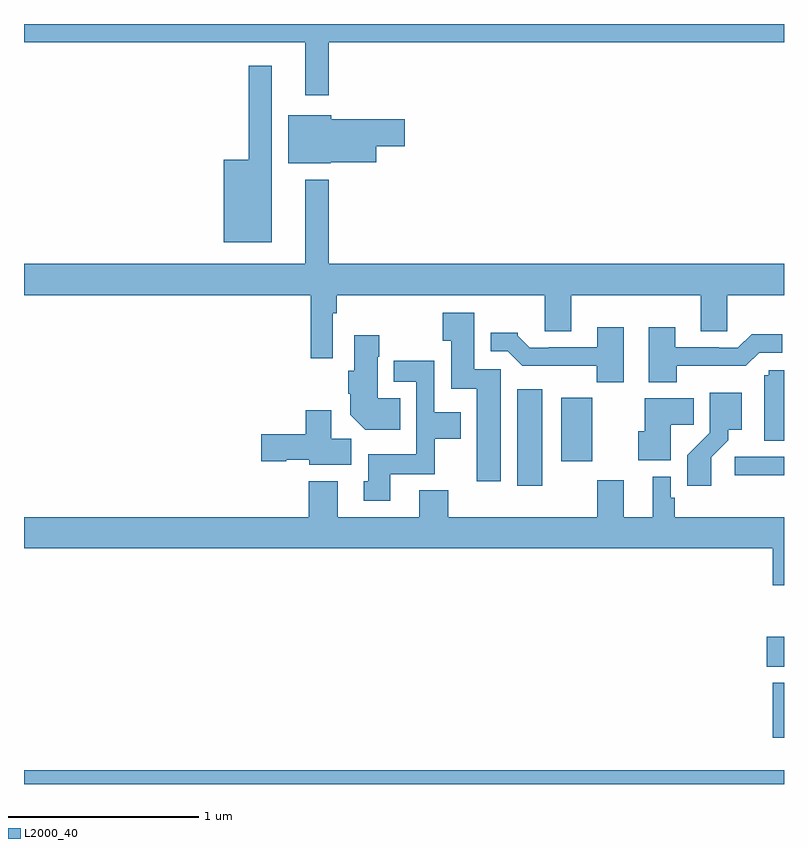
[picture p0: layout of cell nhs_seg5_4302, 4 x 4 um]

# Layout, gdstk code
import gdstk
lib = gdstk.Library(unit=1e-6, precision=1e-09)
def R(c, l, rs):  # rectangles x0, y0, x1, y1
    for r in rs: c.add(gdstk.rectangle(r[:2], r[2:], *l))
def P(c, l, *ps):  # polygons
    for p in ps: c.add(gdstk.Polygon(p, *l))
L2000_40 = (2000, 40)

nhs_seg5_4302 = lib.new_cell('nhs_seg5_4302')
R(nhs_seg5_4302, L2000_40, [(363,908.799,367,908.872), (366.941,909.042,367,909.331), (366.909,909.416,367,909.574), (365.597,910.368,365.728,910.876)])
P(nhs_seg5_4302, L2000_40, [(364.603,912.704),(367,912.704),(367,912.799),(363,912.799),(363,912.704),(364.481,912.704),(364.481,912.423),(364.603,912.423)],
  [(364.303,912.58),(364.182,912.58),(364.182,912.085),(364.052,912.085),(364.052,911.651),(364.303,911.651)],
  [(364.614,912.071),(364.855,912.071),(364.855,912.155),(365.005,912.155),(365.005,912.297),(364.618,912.297),(364.618,912.319),(364.391,912.319),(364.391,912.065),(364.614,912.065)],
  [(364.481,911.98),(364.481,911.536),(363,911.536),(363,911.372),(364.51,911.372),(364.51,911.04),(364.626,911.04),(364.626,911.276),(364.646,911.276),(364.646,911.372),(365.741,911.372),(365.741,911.182),(365.881,911.182),(365.881,911.372),(366.563,911.372),(366.563,911.182),(366.702,911.182),(366.702,911.372),(367,911.372),(367,911.536),(364.603,911.536),(364.603,911.98)],
  [(365.509,910.983),(365.371,910.983),(365.371,911.278),(365.203,911.278),(365.203,911.131),(365.249,911.131),(365.249,910.88),(365.384,910.88),(365.384,910.392),(365.509,910.392)],
  [(366.435,911),(366.799,911),(366.87,911.07),(366.991,911.07),(366.991,911.167),(366.829,911.167),(366.756,911.094),(366.656,911.094),(366.656,911.097),(366.427,911.097),(366.427,911.203),(366.287,911.203),(366.287,910.913),(366.435,910.913)],
  [(366.157,911.203),(366.017,911.203),(366.017,911.097),(365.761,911.097),(365.761,911.094),(365.662,911.094),(365.598,911.158),(365.598,911.173),(365.456,911.173),(365.456,911.076),(365.547,911.076),(365.623,911),(366.015,911),(366.015,910.913),(366.157,910.913)],
  [(364.979,910.828),(364.861,910.828),(364.861,911.048),(364.869,911.048),(364.869,911.161),(364.739,911.161),(364.739,910.974),(364.706,910.974),(364.706,910.852),(364.718,910.852),(364.718,910.742),(364.796,910.664),(364.979,910.664)],
  [(364.927,910.43),(365.163,910.43),(365.163,910.616),(365.299,910.616),(365.299,910.756),(365.16,910.756),(365.16,911.026),(364.947,911.026),(364.947,910.917),(365.064,910.917),(365.064,910.534),(364.811,910.534),(364.811,910.392),(364.787,910.392),(364.787,910.29),(364.927,910.29)],
  [(367,910.977),(366.921,910.977),(366.921,910.95),(366.896,910.95),(366.896,910.606),(367,910.606)],
  [(366.616,910.519),(366.706,910.609),(366.706,910.664),(366.778,910.664),(366.778,910.858),(366.609,910.858),(366.609,910.649),(366.49,910.53),(366.49,910.368),(366.616,910.368)],
  [(365.992,910.724),(365.99,910.724),(365.99,910.831),(365.828,910.831),(365.828,910.497),(365.992,910.497)],
  [(366.403,910.69),(366.524,910.69),(366.524,910.828),(366.266,910.828),(366.266,910.655),(366.233,910.655),(366.233,910.502),(366.403,910.502)],
  [(364.723,910.616),(364.618,910.616),(364.618,910.765),(364.484,910.765),(364.484,910.64),(364.248,910.64),(364.248,910.498),(364.38,910.498),(364.38,910.505),(364.5,910.505),(364.5,910.478),(364.723,910.478)],
  [(366.965,910.425),(367,910.425),(367,910.521),(366.741,910.521),(366.741,910.423),(366.965,910.423)],
  [(366.941,909.846),(367,909.846),(367,910.204),(366.425,910.204),(366.425,910.305),(366.405,910.305),(366.405,910.417),(366.308,910.417),(366.308,910.204),(366.157,910.204),(366.157,910.399),(366.017,910.399),(366.017,910.204),(365.234,910.204),(365.234,910.345),(365.081,910.345),(365.081,910.204),(364.651,910.204),(364.651,910.393),(364.499,910.393),(364.499,910.204),(363,910.204),(363,910.04),(366.941,910.04)])

lib.write_gds('nhs_seg5_4302.gds')
